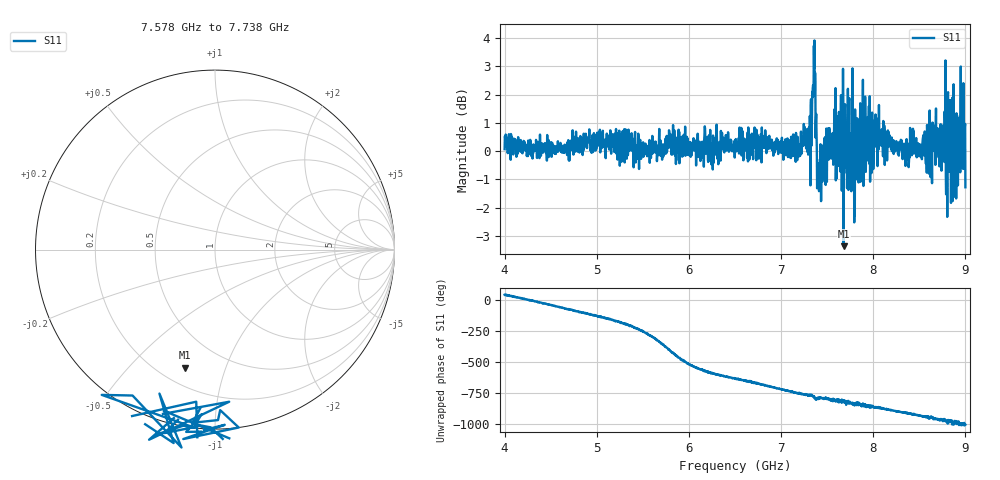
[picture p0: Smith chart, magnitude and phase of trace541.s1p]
! Created with skrf 1.8.0 (http://scikit-rf.org).
# Hz S RI R 50.0
!freq ReS11 ImS11
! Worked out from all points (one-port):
!   1601 points, 4 GHz to 9 GHz, reference 50 ohm
!   lowest |S11| = -3.4 dB at 7.678 GHz (marker M1), VSWR 5.24, Z = 15 - j36.7 ohm
!   |S11| at or under -10 dB: nowhere
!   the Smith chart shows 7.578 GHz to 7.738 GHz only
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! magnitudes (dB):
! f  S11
! 4 GHz  0.1
! 4.625 GHz  -0.1
! 5.25 GHz  -0.5
! 5.875 GHz  0.0
! 6.5 GHz  0.0
! 7.125 GHz  0.3
! 7.294 GHz  -0.1
! 7.319 GHz  -1.2
! 7.347 GHz  2.3
! 7.362 GHz  3.9
! 7.4 GHz  -0.4
! 7.412 GHz  -1.4
! 7.512 GHz  0.8
! 7.619 GHz  1.2
! 7.678 GHz  -3.4
! 7.75 GHz  0.1
! 7.775 GHz  2.9
! 7.891 GHz  -0.2
! 7.944 GHz  0.7
! 8.088 GHz  0.2
! 8.375 GHz  -0.1
! 8.612 GHz  1.4
! 8.759 GHz  0.6
! 8.834 GHz  1.8
! 8.875 GHz  0.0
! 8.959 GHz  2.3
! 8.972 GHz  0.4
! 9 GHz  -1.3
